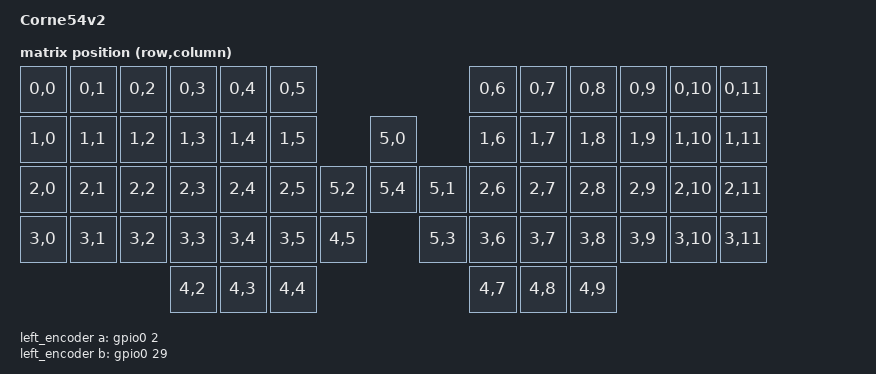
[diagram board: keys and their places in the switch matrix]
/*
*
* Copyright (c) 2023 The ZMK Contributors
* SPDX-License-Identifier: MIT
*
*/

/dts-v1/;
#include <nordic/nrf52840_qiaa.dtsi>
#include <common/nordic/nrf52840_uf2_boot_mode.dtsi>

#include <dt-bindings/led/led.h>
#include <dt-bindings/zmk/matrix_transform.h>

#include "corne54v2-layouts.dtsi"
#include "corne54v2-pinctrl.dtsi"


&physical_layout0 {
    transform = <&matrix_transform0>;
};

/ {
    model = "Corne54v2";
    compatible = "bmk,corne54v2";

    chosen {
        zephyr,code-partition = &code_partition;
        zephyr,sram = &sram0;
        zephyr,flash = &flash0;
        //zmk,backlight = &backlight;
        zmk,battery = &vbatt;
        zmk,physical-layout = &physical_layout0;
        zmk,kscan = &kscan0;
        zmk,underglow = &led_strip;
        zephyr,display = &oled;
    };

    matrix_transform0: keymap_transform_0 {
        compatible = "zmk,matrix-transform";
        columns = <12>;
        rows = <6>;


        map = <
            RC(0,0) RC(0,1) RC(0,2) RC(0,3) RC(0,4) RC(0,5)                                     RC(0,6) RC(0,7) RC(0,8) RC(0,9) RC(0,10) RC(0,11) 
            RC(1,0) RC(1,1) RC(1,2) RC(1,3) RC(1,4) RC(1,5)                    RC(5,0)          RC(1,6) RC(1,7) RC(1,8) RC(1,9) RC(1,10) RC(1,11)
            RC(2,0) RC(2,1) RC(2,2) RC(2,3) RC(2,4) RC(2,5)            RC(5,2) RC(5,4) RC(5,1)  RC(2,6) RC(2,7) RC(2,8) RC(2,9) RC(2,10) RC(2,11)
            RC(3,0) RC(3,1) RC(3,2) RC(3,3) RC(3,4) RC(3,5) RC(4,5)            RC(5,3)          RC(3,6) RC(3,7) RC(3,8) RC(3,9) RC(3,10) RC(3,11)
                                    RC(4,2) RC(4,3) RC(4,4)                                     RC(4,7) RC(4,8) RC(4,9)  

        >;
    };

    left_encoder: encoder_left {
        compatible = "alps,ec11";
        a-gpios = <&gpio0 2 (GPIO_ACTIVE_HIGH | GPIO_PULL_UP)>;
        b-gpios = <&gpio0 29 (GPIO_ACTIVE_HIGH | GPIO_PULL_UP)>;
        steps = <18>;
        status = "disabled";
    };
    
    
    sensors: sensors {
        compatible = "zmk,keymap-sensors";
        sensors = <&left_encoder>;
        triggers-per-rotation = <9>;
    };

    vbatt: vbatt {
        compatible = "zmk,battery-voltage-divider";
        label = "BATTERY";
        io-channels = <&adc 3>;
        output-ohms = <2000000>;
        full-ohms = <(2000000 + 806000)>;
    };


};

&reg0 {
    status = "okay";
};

&reg1 {
    regulator-initial-mode = <NRF5X_REG_MODE_DCDC>;
};

&adc {
    status = "okay";
};

&gpiote {
    status = "okay";
};

&gpio0 {
    status = "okay";
};

&gpio1 {
    status = "okay";
};

zephyr_udc0: &usbd {
    status = "okay";
};


&spi3 {
    compatible = "nordic,nrf-spim";
    status = "okay";
    pinctrl-0 = <&spi3_default>;
    pinctrl-1 = <&spi3_sleep>;
    pinctrl-names = "default", "sleep";

    led_strip: ws2812@0 {
        compatible = "worldsemi,ws2812-spi";

        /* SPI */
        reg = <0>;
        spi-max-frequency = <4000000>;

        /* WS2812 */
        chain-length = <28>; /* number of LEDs */
        spi-one-frame = <0x70>;
        spi-zero-frame = <0x40>;

        color-mapping = <LED_COLOR_ID_GREEN
                        LED_COLOR_ID_RED
                        LED_COLOR_ID_BLUE>;
    };
};


&i2c0 {
    compatible = "nordic,nrf-twi";
    pinctrl-0 = <&i2c0_default>;
    pinctrl-1 = <&i2c0_sleep>;
    pinctrl-names = "default", "sleep";
	//clock-frequency = <100000>;
	status = "okay";
	oled: ssd1306@3c {
        compatible = "solomon,ssd1306fb";
        reg = <0x3c>;
        width = <128>;
        height = <64>;
        segment-offset = <0>;
        page-offset = <0>;
        display-offset = <0>;
        multiplex-ratio = <63>;
        segment-remap;
        //com-invdir;
        //com-sequential;
        inversion-on;
        prechargep = <0x22>;
    };

};




&flash0 {
    /*
     * For more information, see:
     * http://docs.zephyrproject.org/latest/devices/dts/flash_partitions.html
     */
    partitions {
        compatible = "fixed-partitions";
        #address-cells = <1>;
        #size-cells = <1>;

        sd_partition: partition@0 {
            reg = <0x00000000 0x00026000>;
        };
        code_partition: partition@26000 {
            reg = <0x00026000 0x000c6000>;
        };

        /*
         * The flash starting at 0x000ec000 and ending at
         * 0x000f3fff is reserved for use by the application.
         */

        /*
         * Storage partition will be used by FCB/LittleFS/NVS
         * if enabled.
         */
        storage_partition: partition@ec000 {
            reg = <0x000ec000 0x00008000>;
        };

        boot_partition: partition@f4000 {
            reg = <0x000f4000 0x0000c000>;
        };
    };
};
